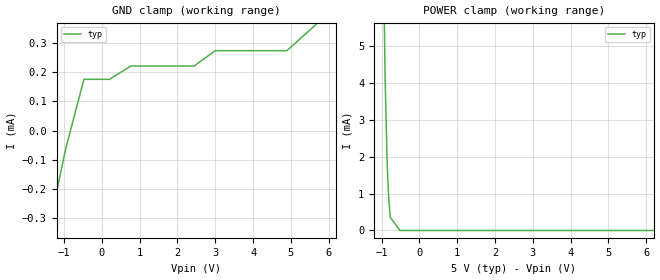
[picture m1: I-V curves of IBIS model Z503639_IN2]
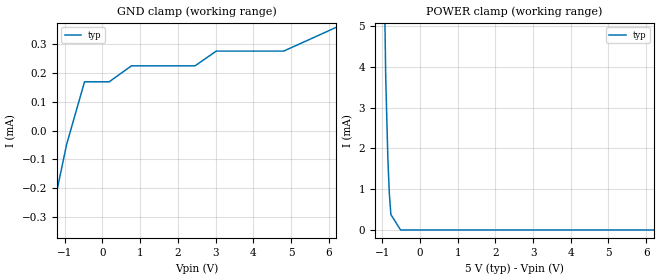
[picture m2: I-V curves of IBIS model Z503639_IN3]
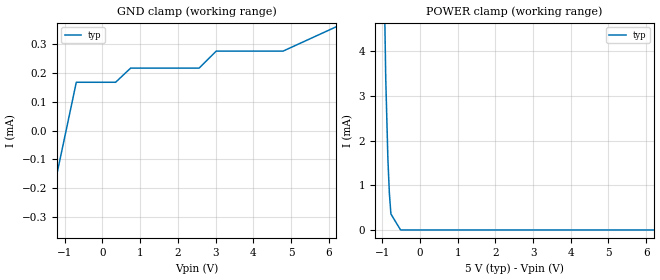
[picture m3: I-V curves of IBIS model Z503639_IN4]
| YOU ARE ONLY AUTHORIZED TO USE THIS SOFTWARE
| ACCORDING TO LICENSOR'S LICENSE RESTRICTIONS.
[IBIS Ver] 3.1
[File Name] mc14522bl.ibs
[File Rev] 2.0
[Source] Measured and created by ICX Technology
[Date] Friday 7/14/00 9:07:56 AM
[Copyright]
| (C) COPYRIGHT 1993-2000
| MENTOR GRAPHICS CORPORATION
| ICX STANDARD LIBRARY, ICX PROJECT MODELING,
| ICX CUSTOM MODELING, ICX VENDOR MODEL
| ALL RIGHTS RESERVED.
| THE FOLLOWING ARE TRADEMARKS OR SERVICE MARKS OF
| MENTOR GRAPHICS CORPORATION:ICX (R), ICX STANDARD
| LIBRARY(R), ICX PROJECT MODELING(R), ICX CUSTOM
| MODELING(R), qualityIBIS(TM), MODELVIEWER(TM),
| AND MODELEDITOR(TM)
| ALL COPIES OF SOFTWARE, INCLUDING BUT NOT LIMITED TO
| ANY MODIFICATIONS, ENHANCEMENTS OR DERIVATIVE WORKS,
| MUST CONTAIN ALL MENTOR GRAPHICS CORPORATION'S
| NOTICES AND LEGENDS, INCLUDING THOSE EMBEDDED IN
| SOFTWARE AND THOSE AFFIXED TO SOFTWARE MEDIUM
| AND CONTAINER, AS RECEIVED FROM MENTOR GRAPHICS
| CORPORATION.
|  ZAP Model Builder 2.7
[Component] MC14522BL
[Manufacturer] OnSemiconductor
[Package]
| variable   typ   min   max
R_pkg  .212ohms NA NA
L_pkg  4.758nH NA NA
C_pkg  1.944pF NA NA
[Pin] signal_name  model_name  R_pin  L_pin C_pin
1 Q3 Z503639_OUT1 .224 7.258n 2.683p
2 P3 Z503639_IN2 .216 5.258n 2.19p
3 PE Z503639_IN3 .208 3.758n 1.697p
4 INH Z503639_IN4 .2 2.758n 1.204p
5 P0 Z503639_IN2 .2 2.758n 1.204p
6 CLK Z503639_IN5 .208 3.758n 1.697p
7 Q0 Z503639_OUT1 .216 5.258n 2.19p
8 VSS POWER .224 7.258n 2.683p
9 Q1 Z503639_OUT1 .224 7.258n 2.683p
10 RST Z503639_IN3 .216 5.258n 2.19p
11 P1 Z503639_IN2 .208 3.758n 1.697p
12 ZERO Z503639_OUT6 .2 2.758n 1.204p
13 CF Z503639_IN3 .2 2.758n 1.204p
14 P2 Z503639_IN2 .208 3.758n 1.697p
15 Q2 Z503639_OUT1 .216 5.258n 2.19p
16 VDD POWER .224 7.258n 2.683p
| Models and submodels in the file (6): Z503639_IN2 (Input), Z503639_IN3 (Input), Z503639_IN4 (Input), Z503639_IN5 (Input), Z503639_OUT1 (Output), Z503639_OUT6 (Output)
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| (C) COPYRIGHT 1993-2000
| MENTOR GRAPHICS CORPORATION
| ICX STANDARD LIBRARY, ICX PROJECT MODELING,
| ICX CUSTOM MODELING, ICX VENDOR MODEL
| ALL RIGHTS RESERVED.
| THE FOLLOWING ARE TRADEMARKS OR SERVICE MARKS OF
| MENTOR GRAPHICS CORPORATION:ICX (R), ICX STANDARD
| LIBRARY(R), ICX PROJECT MODELING(R), ICX CUSTOM
| MODELING(R), qualityIBIS(TM), MODELVIEWER(TM),
| AND MODELEDITOR(TM)
| ALL COPIES OF SOFTWARE, INCLUDING BUT NOT LIMITED TO
| ANY MODIFICATIONS, ENHANCEMENTS OR DERIVATIVE WORKS,
| MUST CONTAIN ALL MENTOR GRAPHICS CORPORATION'S
| NOTICES AND LEGENDS, INCLUDING THOSE EMBEDDED IN
| SOFTWARE AND THOSE AFFIXED TO SOFTWARE MEDIUM
| AND CONTAINER, AS RECEIVED FROM MENTOR GRAPHICS
| CORPORATION.
| Model Application Version 1.89 2/18/99.
[Model] Z503639_IN2
Model_type Input
Vinl = 1.500V
Vinh = 3.500V
C_comp 4.000pF NA NA
| variable typ   min   max
[Voltage Range] 5.000V NA NA
[GND Clamp Reference] 0.000V NA NA
[POWER Clamp Reference] 5.000V NA NA
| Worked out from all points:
|   POWER clamp passes 1 mA (typ) near -0.82 V on its own axis
[GND Clamp]
-5V       -4.276mA   NA         NA
-1.189V   -202.5uA   NA         NA
-949.6mV  -58.05uA   NA         NA
-474.8mV  174.6uA    NA         NA
198.5mV   174.6uA    NA         NA
768.1mV   220.1uA    NA         NA
2.441V    220.1uA    NA         NA
2.998V    272.3uA    NA         NA
4.894V    272.3uA    NA         NA
10V       864.8uA    NA         NA
[POWER Clamp]
-5V       755.2mA    NA         NA
-1.175V   35.64mA    NA         NA
-1.055V   17.76mA    NA         NA
-1.001V   11.53mA    NA         NA
-908mV    4.168mA    NA         NA
-850mV    1.742mA    NA         NA
-811mV    866.3uA    NA         NA
-771mV    358.4uA    NA         NA
-514mV    0A         NA         NA
10V       0A         NA         NA
| (C) COPYRIGHT 1993-2000
| MENTOR GRAPHICS CORPORATION
| ICX STANDARD LIBRARY, ICX PROJECT MODELING,
| ICX CUSTOM MODELING, ICX VENDOR MODEL
| ALL RIGHTS RESERVED.
| THE FOLLOWING ARE TRADEMARKS OR SERVICE MARKS OF
| MENTOR GRAPHICS CORPORATION:ICX (R), ICX STANDARD
| LIBRARY(R), ICX PROJECT MODELING(R), ICX CUSTOM
| MODELING(R), qualityIBIS(TM), MODELVIEWER(TM),
| AND MODELEDITOR(TM)
| ALL COPIES OF SOFTWARE, INCLUDING BUT NOT LIMITED TO
| ANY MODIFICATIONS, ENHANCEMENTS OR DERIVATIVE WORKS,
| MUST CONTAIN ALL MENTOR GRAPHICS CORPORATION'S
| NOTICES AND LEGENDS, INCLUDING THOSE EMBEDDED IN
| SOFTWARE AND THOSE AFFIXED TO SOFTWARE MEDIUM
| AND CONTAINER, AS RECEIVED FROM MENTOR GRAPHICS
| CORPORATION.
| Model Application Version 1.89 2/18/99.
[Model] Z503639_IN3
Model_type Input
Vinl = 1.500V
Vinh = 3.500V
C_comp 4.000pF NA NA
| variable typ   min   max
[Voltage Range] 5.000V NA NA
[GND Clamp Reference] 0.000V NA NA
[POWER Clamp Reference] 5.000V NA NA
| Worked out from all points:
|   POWER clamp passes 1 mA (typ) near -0.82 V on its own axis
[GND Clamp]
-5V       -2.567mA   NA         NA
-949.9mV  -47.94uA   NA         NA
-474.9mV  168.6uA    NA         NA
179.1mV   168.6uA    NA         NA
768.4mV   223.9uA    NA         NA
2.456V    223.9uA    NA         NA
3.018V    274.9uA    NA         NA
4.807V    274.9uA    NA         NA
10V       581.5uA    NA         NA
[POWER Clamp]
-5V       681.9mA    NA         NA
-1.248V   40.68mA    NA         NA
-1.074V   17.08mA    NA         NA
-1.002V   9.995mA    NA         NA
-908mV    3.755mA    NA         NA
-850mV    1.724mA    NA         NA
-811mV    878.8uA    NA         NA
-771mV    379.6uA    NA         NA
-514mV    0A         NA         NA
10V       0A         NA         NA
| (C) COPYRIGHT 1993-2000
| MENTOR GRAPHICS CORPORATION
| ICX STANDARD LIBRARY, ICX PROJECT MODELING,
| ICX CUSTOM MODELING, ICX VENDOR MODEL
| ALL RIGHTS RESERVED.
| THE FOLLOWING ARE TRADEMARKS OR SERVICE MARKS OF
| MENTOR GRAPHICS CORPORATION:ICX (R), ICX STANDARD
| LIBRARY(R), ICX PROJECT MODELING(R), ICX CUSTOM
| MODELING(R), qualityIBIS(TM), MODELVIEWER(TM),
| AND MODELEDITOR(TM)
| ALL COPIES OF SOFTWARE, INCLUDING BUT NOT LIMITED TO
| ANY MODIFICATIONS, ENHANCEMENTS OR DERIVATIVE WORKS,
| MUST CONTAIN ALL MENTOR GRAPHICS CORPORATION'S
| NOTICES AND LEGENDS, INCLUDING THOSE EMBEDDED IN
| SOFTWARE AND THOSE AFFIXED TO SOFTWARE MEDIUM
| AND CONTAINER, AS RECEIVED FROM MENTOR GRAPHICS
| CORPORATION.
| Model Application Version 1.89 2/18/99.
[Model] Z503639_IN4
Model_type Input
Vinl = 1.500V
Vinh = 3.500V
C_comp 4.000pF NA NA
| variable typ   min   max
[Voltage Range] 5.000V NA NA
[GND Clamp Reference] 0.000V NA NA
[POWER Clamp Reference] 5.000V NA NA
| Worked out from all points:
|   POWER clamp passes 1 mA (typ) near -0.82 V on its own axis
[GND Clamp]
-5V       -2.505mA   NA         NA
-693.5mV  167.8uA    NA         NA
349mV     167.8uA    NA         NA
748.1mV   217.1uA    NA         NA
2.564V    217.1uA    NA         NA
3.018V    276.2uA    NA         NA
4.791V    276.2uA    NA         NA
10V       588.8uA    NA         NA
[POWER Clamp]
-5V       474.4mA    NA         NA
-1.187V   24.89mA    NA         NA
-1.059V   13.04mA    NA         NA
-1.005V   8.688mA    NA         NA
-908mV    3.425mA    NA         NA
-850mV    1.585mA    NA         NA
-811mV    823.6uA    NA         NA
-770mV    357.3uA    NA         NA
-513.3mV  0A         NA         NA
10V       0A         NA         NA
